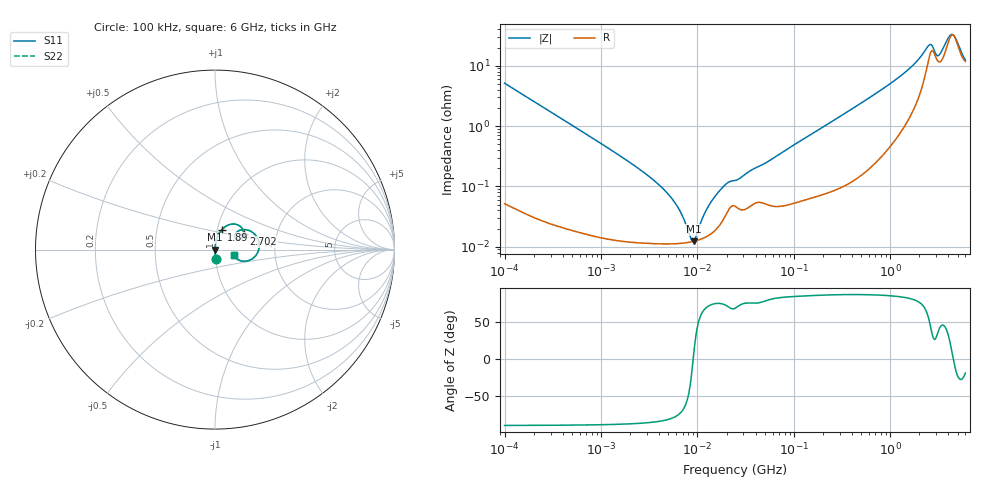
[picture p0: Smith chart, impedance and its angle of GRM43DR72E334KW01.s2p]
!Murata Part Number: GRM43DR72E334KW01
!These Parameters are Measured in Series Mode Connection
!Data Generated on Mar 30, 2021
!  o--ll--o
!Port1  Port2
!  o------o
!Operation Temp=25[degC], DC Bias Voltage=0[V]
!Freq. Start=100[kHz] Stop=6[GHz] 401[Steps]
# Hz S RI R 50
!Freq.(Hz) S11(Real) S11(Imag) S21(Real) S21(Imag) S12(Real) S12(Imag) S22(Real) S22(Imag)
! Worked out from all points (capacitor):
!   401 points, 100 kHz to 6 GHz, reference 50 ohm
!   read as one part in series: C = 310 nF near 105.7 kHz
!   lowest |Z| = 12.3 mohm at 9.1 MHz (marker M1)
!   series resonance near 9.028 MHz, so ESL is about 1 nH
!   S11 on the Smith chart (normalised r, x): 100 kHz: 1.00, -0.10; 1.89 GHz: 1.05, +0.23; 2.702 GHz: 1.36, +0.24; 6 GHz: 1.24, -0.08
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100000  0.00313 -0.051  0.9969 0.051  0.9969 0.051  0.00313 -0.051
631452  0.000234 -0.00815  0.9998 0.00815  0.9998 0.00815  0.000234 -0.00815
2118054  0.000123 -0.00232  0.9999 0.00232  0.9999 0.00232  0.000123 -0.00232
3987316  0.000113 -0.00106  0.9999 0.00106  0.9999 0.00106  0.000113 -0.00106
6191655  0.000113 -0.00045  0.9999 0.00045  0.9999 0.00045  0.000113 -0.00045
7104501  0.000115 -0.000283  0.9999 0.000283  0.9999 0.000283  0.000115 -0.000283
8379264  0.000119 -8.76e-05  0.9999 8.76e-05  0.9999 8.76e-05  0.000119 -8.76e-05
9100013  0.000122 9.4e-06  0.9999 -9.4e-06  0.9999 -9.4e-06  0.000122 9.4e-06
1.198108e7  0.000143 0.000341  0.9999 -0.000341  0.9999 -0.000341  0.000143 0.000341
1.452491e7  0.000174 0.000594  0.9998 -0.000594  0.9998 -0.000594  0.000174 0.000594
1.965679e7  0.000335 0.00103  0.9997 -0.00103  0.9997 -0.00103  0.000335 0.00103
2.517799e7  0.000457 0.00118  0.9995 -0.00118  0.9995 -0.00118  0.000457 0.00118
1.546735e8  0.000699 0.00744  0.9993 -0.00744  0.9993 -0.00744  0.000699 0.00744
9.76689e8  0.00675 0.0485  0.9933 -0.0485  0.9933 -0.0485  0.00675 0.0485
1.889928e9  0.0372 0.1095  0.9628 -0.1095  0.9628 -0.1095  0.0372 0.1095
2.420771e9  0.1145 0.1416  0.8855 -0.1416  0.8855 -0.1416  0.1145 0.1416
2.702311e9  0.1605 0.0868  0.8395 -0.0868  0.8395 -0.0868  0.1605 0.0868
3.187187e9  0.1098 0.0751  0.8902 -0.0751  0.8902 -0.0751  0.1098 0.0751
3.863894e9  0.1868 0.1077  0.8132 -0.1077  0.8132 -0.1077  0.1868 0.1077
4.433555e9  0.2465 0.0118  0.7535 -0.0118  0.7535 -0.0118  0.2465 0.0118
5.087202e9  0.1714 -0.0648  0.8286 0.0648  0.8286 0.0648  0.1714 -0.0648
6e9  0.107 -0.0324  0.893 0.0324  0.893 0.0324  0.107 -0.0324
